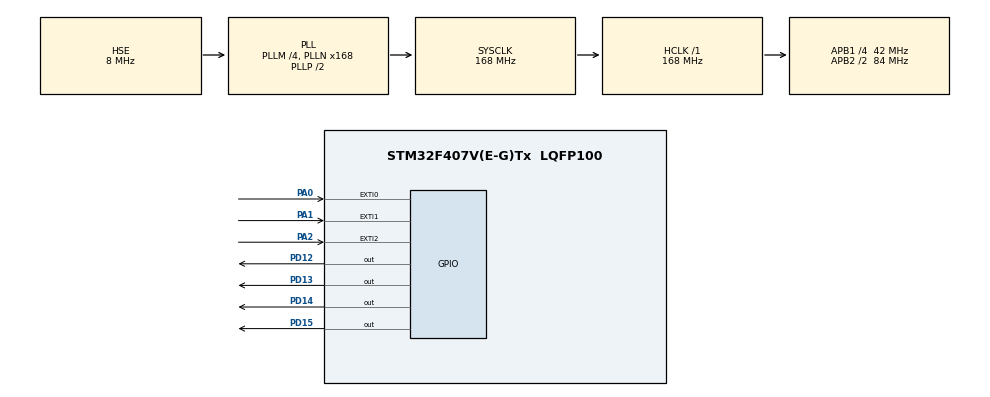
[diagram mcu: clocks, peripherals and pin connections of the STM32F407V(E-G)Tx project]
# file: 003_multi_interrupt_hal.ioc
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Mcu.Family=STM32F4
Mcu.Name=STM32F407V(E-G)Tx
Mcu.Package=LQFP100
NVIC.EXTI0_IRQn=true\:0\:0\:false\:false\:true\:true\:true\:true
NVIC.EXTI1_IRQn=true\:0\:0\:false\:false\:true\:true\:true\:true
NVIC.EXTI2_IRQn=true\:0\:0\:false\:false\:true\:true\:true\:true
NVIC.PriorityGroup=NVIC_PRIORITYGROUP_0
PA0-WKUP.GPIO_PuPd=GPIO_PULLDOWN
PA0-WKUP.Signal=GPXTI0
PA1.GPIO_PuPd=GPIO_PULLDOWN
PA1.Signal=GPXTI1
PA2.GPIO_PuPd=GPIO_PULLDOWN
PA2.Signal=GPXTI2
PD12.GPIO_Speed=GPIO_SPEED_FREQ_VERY_HIGH
PD12.Signal=GPIO_Output
PD13.GPIO_Speed=GPIO_SPEED_FREQ_VERY_HIGH
PD13.Signal=GPIO_Output
PD14.GPIO_Speed=GPIO_SPEED_FREQ_VERY_HIGH
PD14.Signal=GPIO_Output
PD15.GPIO_Speed=GPIO_SPEED_FREQ_VERY_HIGH
PD15.Signal=GPIO_Output
PH0-OSC_IN.Mode=HSE-External-Oscillator
PH0-OSC_IN.Signal=RCC_OSC_IN
PH1-OSC_OUT.Mode=HSE-External-Oscillator
PH1-OSC_OUT.Signal=RCC_OSC_OUT
ProjectManager.HeapSize=0x200
ProjectManager.StackSize=0x400
ProjectManager.TargetToolchain=STM32CubeIDE
RCC.48MHZClocksFreq_Value=48000000
RCC.AHBFreq_Value=168000000
RCC.APB1CLKDivider=RCC_HCLK_DIV4
RCC.APB1Freq_Value=42000000
RCC.APB1TimFreq_Value=84000000
RCC.APB2CLKDivider=RCC_HCLK_DIV2
RCC.APB2Freq_Value=84000000
RCC.APB2TimFreq_Value=168000000
RCC.CortexFreq_Value=168000000
RCC.HCLKFreq_Value=168000000
RCC.HSE_VALUE=8000000
RCC.HSI_VALUE=16000000
RCC.LSE_VALUE=32768
RCC.PLLM=4
RCC.PLLN=168
RCC.PLLQ=7
RCC.PLLSourceVirtual=RCC_PLLSOURCE_HSE
RCC.SYSCLKFreq_VALUE=168000000
RCC.SYSCLKSource=RCC_SYSCLKSOURCE_PLLCLK
RCC.VCOOutputFreq_Value=336000000
board=STM32F407G-DISC1

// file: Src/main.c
/* USER CODE BEGIN Header */
/**
  ******************************************************************************
  * @file           : main.c
  * @brief          : Main program body
  ******************************************************************************
  * @attention
  *
  * Copyright (c) 2023 STMicroelectronics.
  * All rights reserved.
  *
  * This software is licensed under terms that can be found in the LICENSE file
  * in the root directory of this software component.
  * If no LICENSE file comes with this software, it is provided AS-IS.
  *
  ******************************************************************************
  */
/* USER CODE END Header */
#include "main.h"

void SystemClock_Config(void);
static void MX_GPIO_Init(void);

/* USER CODE BEGIN 0 */
void HAL_GPIO_EXTI_Callback(uint16_t GPIO_Pin)
{
	i++;

	if(HAL_GPIO_ReadPin(GPIOA, GPIO_PIN_0))
	{
		if(i == 1)
		{
			count = 1000;
		}
		else if(i ==2)
		{
			count = 750;
		}
		else if(i==3)
		{
			count = 500;
		}
		else
		{
			count = 250;
			i = 0;
		}
	}
	else if(HAL_GPIO_ReadPin(GPIOA, GPIO_PIN_1))
	{
		count = 2000;
	}
	else
	{
		count = 3000;
	}
}

/* USER CODE END 0 */

int main(void)
{
  /* USER CODE BEGIN 1 */
	int count = 0, i = 0;

  /* USER CODE END 1 */

  /* MCU Configuration--------------------------------------------------------*/

  /* Reset of all peripherals, Initializes the Flash interface and the Systick. */
  HAL_Init();

  /* Configure the system clock */
  SystemClock_Config();

  /* Initialize all configured peripherals */
  MX_GPIO_Init();

  /* Infinite loop */
  while (1)
  {

    /* USER CODE BEGIN 3 */
	  HAL_GPIO_TogglePin(GPIOD, GPIO_PIN_12 | GPIO_PIN_13 | GPIO_PIN_14 | GPIO_PIN_15);
	  HAL_Delay(count);
  }
  /* USER CODE END 3 */
}

void SystemClock_Config(void)
{
  RCC_OscInitTypeDef RCC_OscInitStruct = {0};
  RCC_ClkInitTypeDef RCC_ClkInitStruct = {0};

  /** Configure the main internal regulator output voltage
  */
  __HAL_RCC_PWR_CLK_ENABLE();
  __HAL_PWR_VOLTAGESCALING_CONFIG(PWR_REGULATOR_VOLTAGE_SCALE1);

  /** Initializes the RCC Oscillators according to the specified parameters
  * in the RCC_OscInitTypeDef structure.
  */
  RCC_OscInitStruct.OscillatorType = RCC_OSCILLATORTYPE_HSE;
  RCC_OscInitStruct.HSEState = RCC_HSE_ON;
  RCC_OscInitStruct.PLL.PLLState = RCC_PLL_ON;
  RCC_OscInitStruct.PLL.PLLSource = RCC_PLLSOURCE_HSE;
  RCC_OscInitStruct.PLL.PLLM = 4;
  RCC_OscInitStruct.PLL.PLLN = 168;
  RCC_OscInitStruct.PLL.PLLP = RCC_PLLP_DIV2;
  RCC_OscInitStruct.PLL.PLLQ = 7;
  if (HAL_RCC_OscConfig(&RCC_OscInitStruct) != HAL_OK)
  {
    Error_Handler();
  }

  /** Initializes the CPU, AHB and APB buses clocks
  */
  RCC_ClkInitStruct.ClockType = RCC_CLOCKTYPE_HCLK|RCC_CLOCKTYPE_SYSCLK
                              |RCC_CLOCKTYPE_PCLK1|RCC_CLOCKTYPE_PCLK2;
  RCC_ClkInitStruct.SYSCLKSource = RCC_SYSCLKSOURCE_PLLCLK;
  RCC_ClkInitStruct.AHBCLKDivider = RCC_SYSCLK_DIV1;
  RCC_ClkInitStruct.APB1CLKDivider = RCC_HCLK_DIV4;
  RCC_ClkInitStruct.APB2CLKDivider = RCC_HCLK_DIV2;

  if (HAL_RCC_ClockConfig(&RCC_ClkInitStruct, FLASH_LATENCY_5) != HAL_OK)
  {
    Error_Handler();
  }
}

static void MX_GPIO_Init(void)
{
  GPIO_InitTypeDef GPIO_InitStruct = {0};

  /* GPIO Ports Clock Enable */
  __HAL_RCC_GPIOH_CLK_ENABLE();
  __HAL_RCC_GPIOA_CLK_ENABLE();
  __HAL_RCC_GPIOD_CLK_ENABLE();

  /*Configure GPIO pin Output Level */
  HAL_GPIO_WritePin(GPIOD, GPIO_PIN_12|GPIO_PIN_13|GPIO_PIN_14|GPIO_PIN_15, GPIO_PIN_RESET);

  /*Configure GPIO pins : PA0 PA1 PA2 */
  GPIO_InitStruct.Pin = GPIO_PIN_0|GPIO_PIN_1|GPIO_PIN_2;
  GPIO_InitStruct.Mode = GPIO_MODE_IT_RISING;
  GPIO_InitStruct.Pull = GPIO_PULLDOWN;
  HAL_GPIO_Init(GPIOA, &GPIO_InitStruct);

  /*Configure GPIO pins : PD12 PD13 PD14 PD15 */
  GPIO_InitStruct.Pin = GPIO_PIN_12|GPIO_PIN_13|GPIO_PIN_14|GPIO_PIN_15;
  GPIO_InitStruct.Mode = GPIO_MODE_OUTPUT_PP;
  GPIO_InitStruct.Pull = GPIO_NOPULL;
  GPIO_InitStruct.Speed = GPIO_SPEED_FREQ_VERY_HIGH;
  HAL_GPIO_Init(GPIOD, &GPIO_InitStruct);

  /* EXTI interrupt init*/
  HAL_NVIC_SetPriority(EXTI0_IRQn, 0, 0);
  HAL_NVIC_EnableIRQ(EXTI0_IRQn);

  HAL_NVIC_SetPriority(EXTI1_IRQn, 0, 0);
  HAL_NVIC_EnableIRQ(EXTI1_IRQn);

  HAL_NVIC_SetPriority(EXTI2_IRQn, 0, 0);
  HAL_NVIC_EnableIRQ(EXTI2_IRQn);

}

void Error_Handler(void)
{
  __disable_irq();
  while (1)
  {
  }
}
